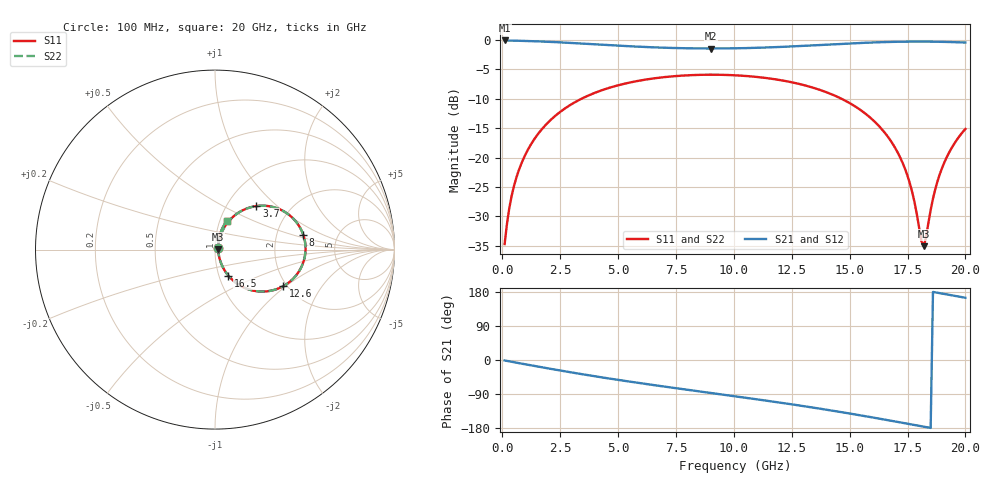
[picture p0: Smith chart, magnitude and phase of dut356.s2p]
! Touchstone file exported from HFSS 2026.1.0
!  File:  C:/ffzhzh/LocalFiles/Ansys_Project_Files/temp_train_TSV_RDL_356_1783037626_55676.aedt
!  Generated:  08:27:39 AM Jul  3, 2026
!  Design:  TSV_RDL
!  Project:  temp_train_TSV_RDL_356_1783037626_55676
! Variables:
!  h_bsmrdl = 4.2um
!  h_ox = 20um
!  h_rdl = 5um
!  h_sub = 74.6um
!  h_tmrdl = 2.03um
!  h_tsv = 74.6um
!  h_via = 3um
!  l_bsmrdl = 580.18um
!  l_sub = 3272.4um
!  l_tmrdl = 244.31um
!  m_sub = 200um
!  pitch = 53.84um
!  r_tsv = 8.28um
!  s_tmrdl = 10um
!  w_bsmrdl = 26.56um
!  w_sub = 500um
!  w_tmrdl = 24.98um
!  x_tsv_center1 = 256.8um
!  x_tsv_center2 = 863.54um
!  x_tsv_center3 = 1132.83um
!  x_tsv_center4 = 1739.57um
!  x_tsv_center5 = 2008.86um
!  x_tsv_center6 = 2615.6um
# GHz S MA R 50.000000
! Terminal data exported
! Port[1] = TM_RDL1_1_T1
! Port[2] = TM_RDL5_1_T1
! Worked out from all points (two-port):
!   200 points, 100 MHz to 20 GHz, reference 50 ohm
!   highest |S21| = -0.13 dB at 100 MHz (marker M1); lowest = -1.5 dB at 9 GHz (marker M2)
!   |S21| within 3 dB of the highest: start of sweep to end of sweep
!   lowest |S11| = -35.1 dB at 18.2 GHz (marker M3), VSWR 1.04, Z = 51.8 + j0.242 ohm
!   |S11| at or under -10 dB: start of sweep to 3.433 GHz; 14.64 GHz to end of sweep
!   |S22| runs from -35.0 to -5.9 dB; largest |S21 - S12| = 4.4e-14
!   S11 on the Smith chart (normalised r, x): 100 MHz: 1.03, +0.02; 3.7 GHz: 1.36, +0.75; 8 GHz: 2.83, +0.62; 12.6 GHz: 1.91, -0.96; 16.5 GHz: 1.11, -0.33; 20 GHz: 1.08, +0.36
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0.1  0.0184 37.3  0.9855 -1.2  0.9855 -1.2  0.0184 37.3
! Gamma 0 0 0 0
! Port Impedance 50 0 50 0
0.3  0.03693 61.4  0.9838 -3.5  0.9838 -3.5  0.03693 61.4
0.5  0.05682 66.9  0.9816 -5.8  0.9816 -5.8  0.05682 66.9
1.1  0.1159 68.2  0.9747 -12.5  0.9747 -12.5  0.1159 68.2
2.1  0.2094 61.1  0.958 -23.5  0.958 -23.5  0.2094 61.1
3.5  0.321 48.3  0.9261 -38.0  0.9261 -38.0  0.321 48.3
3.7  0.3347 46.4  0.9212 -40.0  0.9212 -40.0  0.3347 46.4
6.8  0.4765 19.3  0.8577 -68.5  0.8577 -68.5  0.4765 19.3
8  0.4986 9.5  0.8455 -78.6  0.8455 -78.6  0.4986 9.5
9  0.5046 1.5  0.8421 -87.0  0.8421 -87.0  0.5046 1.5
10.1  0.4982 -7.4  0.8456 -96.1  0.8456 -96.1  0.4982 -7.4
12.6  0.431 -28.3  0.8788 -117.9  0.8788 -117.9  0.431 -28.3
13.4  0.3927 -35.3  0.8949 -125.4  0.8949 -125.4  0.3927 -35.3
15.2  0.2745 -51.7  0.933 -143.3  0.933 -143.3  0.2745 -51.7
16.5  0.164 -62.8  0.9547 -157.1  0.9547 -157.1  0.164 -62.8
16.7  0.1456 -64.1  0.9571 -159.3  0.9571 -159.3  0.1456 -64.1
17.5  0.06994 -65.2  0.9635 -168.1  0.9635 -168.1  0.06993 -65.1
18.2  0.01767 7.6  0.9642 -175.9  0.9642 -175.9  0.01772 7.6
18.6  0.04472 65.1  0.9626 179.6  0.9626 179.6  0.04475 65.0
18.9  0.07269 71.0  0.9604 176.3  0.9604 176.3  0.07272 71.0
19.4  0.1199 71.2  0.9551 170.8  0.9551 170.8  0.1199 71.1
20  0.1748 67.4  0.9461 164.3  0.9461 164.3  0.1749 67.4
